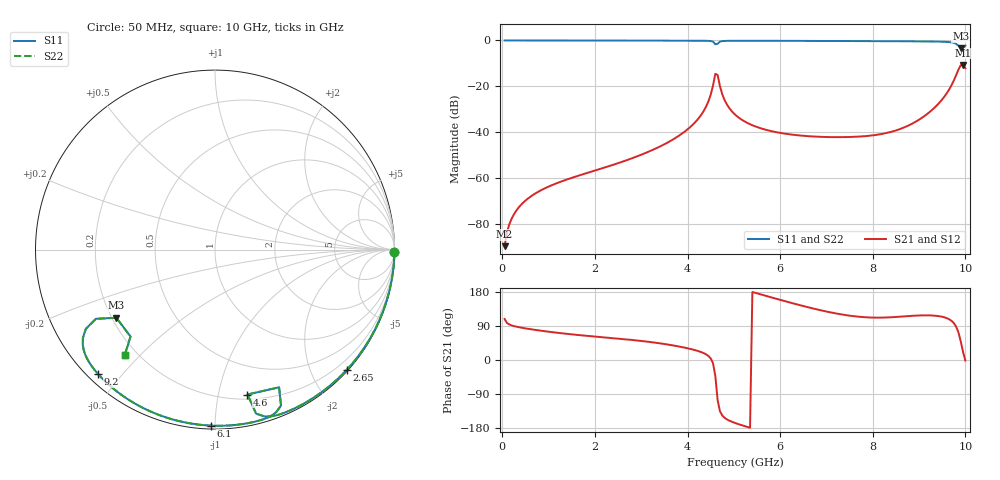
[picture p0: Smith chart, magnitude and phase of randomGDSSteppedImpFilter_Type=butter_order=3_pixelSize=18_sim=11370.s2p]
! freq	dB(S11)	phase(S11)	dB(S12)	phase(S12)
!  dB(S21)	phase(S21)	dB(S22)	phase(S22)
!S-par simulation data
#  GHz  S  DB  R 50
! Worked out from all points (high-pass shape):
!   200 points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, 50 MHz to 10 GHz, reference 50 ohm
!   highest |S21| = -10.66 dB at 9.95 GHz (marker M1); lowest = -89.7 dB at 50 MHz (marker M2)
!   |S21| within 3 dB of the highest: 9.83 GHz to end of sweep
!   lowest |S11| = -3.5 dB at 9.9 GHz (marker M3), VSWR 5.02, Z = 10.9 - j14.9 ohm
!   |S11| at or under -10 dB: nowhere
!   |S22| runs from -3.5 to 0.0 dB; largest |S21 - S12| = 0
!   S11 on the Smith chart (normalised r, x): 50 MHz: open; 2.65 GHz: 0.02, -2.59; 4.6 GHz: 0.24, -1.22; 6.1 GHz: 0.02, -0.98; 9.2 GHz: 0.03, -0.43; 10 GHz: 0.16, -0.45
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0.05  -0.00 -0.8  -89.73 108.2  -89.73 108.2  -0.00 -0.8
0.15  -0.00 -2.4  -80.30 93.9  -80.30 93.9  -0.00 -2.4
0.35  -0.00 -5.7  -72.95 86.8  -72.95 86.8  -0.00 -5.7
0.7  -0.01 -11.4  -66.90 79.6  -66.90 79.6  -0.01 -11.4
1.75  -0.04 -28.2  -58.30 64.6  -58.30 64.6  -0.04 -28.2
2.65  -0.05 -42.3  -52.49 54.7  -52.49 54.7  -0.05 -42.3
3.4  -0.07 -53.8  -46.31 44.1  -46.31 44.1  -0.07 -53.8
4.25  -0.11 -67.2  -33.66 22.8  -33.66 22.8  -0.11 -67.2
4.45  -0.18 -71.6  -26.60 10.7  -26.60 10.7  -0.18 -71.6
4.6  -1.65 -77.4  -14.55 -42.1  -14.55 -42.1  -1.65 -77.4
4.65  -1.45 -65.0  -15.08 -106.1  -15.08 -106.1  -1.45 -65.0
4.7  -0.50 -67.1  -19.94 -135.1  -19.94 -135.1  -0.50 -67.1
4.85  -0.17 -72.3  -27.92 -156.7  -27.92 -156.7  -0.17 -72.3
5.05  -0.14 -76.1  -32.75 -167.3  -32.75 -167.3  -0.14 -76.1
6.1  -0.17 -91.4  -40.65 155.4  -40.65 155.4  -0.17 -91.4
6.7  -0.20 -99.5  -41.87 136.3  -41.87 136.3  -0.20 -99.5
8.35  -0.32 -121.3  -40.11 112.5  -40.11 112.5  -0.32 -121.3
9.2  -0.43 -133.3  -31.68 117.8  -31.68 117.8  -0.43 -133.3
9.75  -1.06 -146.3  -17.48 97.4  -17.48 97.4  -1.06 -146.2
9.9  -3.51 -145.3  -10.81 49.0  -10.81 49.0  -3.50 -145.3
9.95  -3.41 -134.1  -10.66 20.8  -10.66 20.8  -3.40 -134.2
10  -2.25 -130.6  -12.10 -1.5  -12.10 -1.5  -2.24 -130.6
